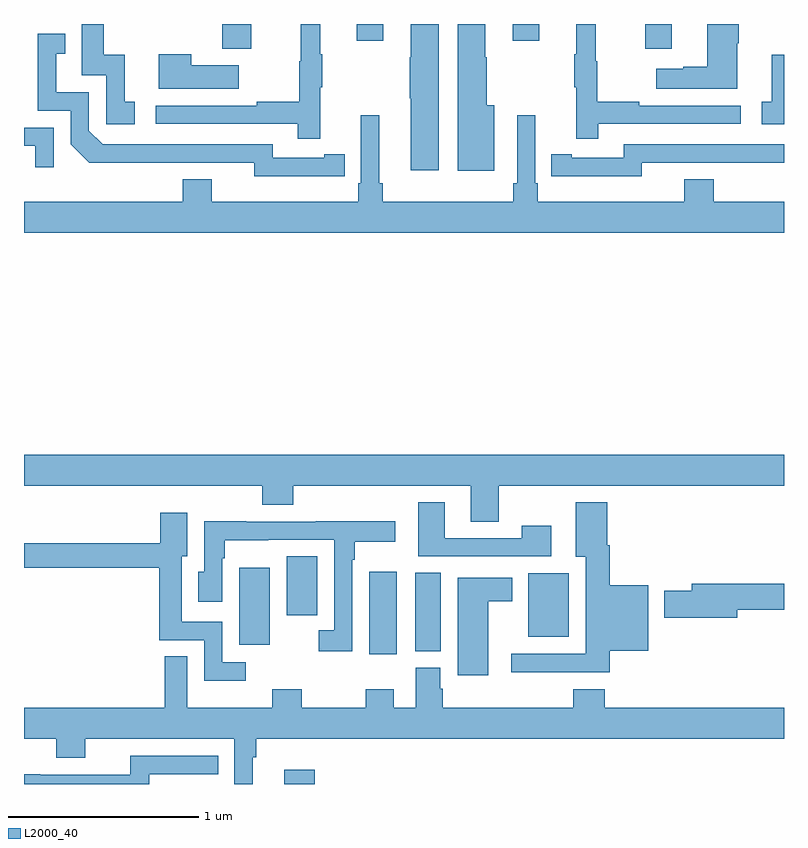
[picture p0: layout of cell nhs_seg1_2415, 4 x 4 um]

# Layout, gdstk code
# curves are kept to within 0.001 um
import gdstk
lib = gdstk.Library(unit=1e-6, precision=1e-09)
def R(c, l, rs):  # rectangles x0, y0, x1, y1
    for r in rs: c.add(gdstk.rectangle(r[:2], r[2:], *l))
def P(c, l, *ps):  # polygons
    for p in ps: c.add(gdstk.Polygon(p, *l))
L2000_40 = (2000, 40)

nhs_seg1_2415 = lib.new_cell('nhs_seg1_2415')
R(nhs_seg1_2415, L2000_40, [(244.37,514.199,244.529,514.273), (244.817,514.883,244.963,515.317), (245.06,514.897,245.194,515.312), (244.133,514.932,244.294,515.338), (245.654,514.973,245.866,515.308), (244.382,515.088,244.543,515.399), (244.043,518.07,244.195,518.199), (246.269,518.07,246.409,518.199), (244.751,518.112,244.891,518.199), (245.573,518.112,245.713,518.199)])
P(nhs_seg1_2415, L2000_40, [(243.583,517.791),(243.53,517.791),(243.53,518.038),(243.419,518.038),(243.419,518.199),(243.303,518.199),(243.303,517.929),(243.432,517.929),(243.432,517.671),(243.583,517.671)],
  [(244.559,517.867),(244.57,517.867),(244.57,518.041),(244.559,518.041),(244.559,518.199),(244.456,518.199),(244.456,518.004),(244.449,518.004),(244.449,517.79),(244.225,517.79),(244.225,517.77),(243.693,517.77),(243.693,517.674),(244.441,517.674),(244.441,517.596),(244.559,517.596)],
  [(246.754,518.099),(246.762,518.099),(246.762,518.199),(246.596,518.199),(246.596,517.973),(246.47,517.973),(246.47,517.963),(246.327,517.963),(246.327,517.859),(246.754,517.859)],
  [(245.476,517.771),(245.436,517.771),(245.436,518.024),(245.428,518.024),(245.428,518.199),(245.282,518.199),(245.282,517.427),(245.476,517.427)],
  [(245.182,518.199),(245.036,518.199),(245.036,518.024),(245.029,518.024),(245.029,517.807),(245.036,517.807),(245.036,517.428),(245.182,517.428)],
  [(246.023,517.674),(246.772,517.674),(246.772,517.77),(246.239,517.77),(246.239,517.79),(246.016,517.79),(246.016,518.004),(246.008,518.004),(246.008,518.199),(245.906,518.199),(245.906,518.041),(245.895,518.041),(245.895,517.867),(245.906,517.867),(245.906,517.596),(246.023,517.596)],
  [(244.58,517.398),(244.688,517.398),(244.688,517.514),(244.58,517.514),(244.58,517.494),(244.308,517.494),(244.308,517.566),(243.414,517.566),(243.342,517.638),(243.342,517.839),(243.169,517.839),(243.169,518.043),(243.218,518.043),(243.218,518.149),(243.072,518.149),(243.072,517.743),(243.246,517.743),(243.246,517.566),(243.344,517.469),(244.212,517.47),(244.212,517.397)],
  [(244.129,517.981),(243.881,517.981),(243.881,518.041),(243.71,518.041),(243.71,517.859),(244.129,517.859)],
  [(247,518.038),(246.935,518.038),(246.935,517.791),(246.882,517.791),(246.882,517.671),(247,517.671)],
  [(247,517.264),(246.629,517.264),(246.629,517.381),(246.476,517.381),(246.476,517.264),(245.705,517.264),(245.705,517.36),(245.691,517.36),(245.691,517.72),(245.595,517.72),(245.595,517.36),(245.575,517.36),(245.575,517.264),(244.889,517.264),(244.889,517.36),(244.87,517.36),(244.87,517.72),(244.773,517.72),(244.773,517.36),(244.76,517.36),(244.76,517.264),(243.988,517.264),(243.988,517.381),(243.836,517.381),(243.836,517.264),(243,517.264),(243,517.1),(247,517.1)],
  [(243.156,517.653),(243,517.653),(243,517.557),(243.059,517.557),(243.059,517.446),(243.156,517.446)],
  [(246.252,517.47),(246.712,517.47),(246.712,517.469),(247,517.469),(247,517.566),(246.156,517.566),(246.156,517.494),(245.884,517.494),(245.884,517.514),(245.776,517.514),(245.776,517.398),(245.884,517.398),(245.884,517.397),(246.252,517.397)],
  [(245.499,515.768),(247,515.768),(247,515.932),(243,515.932),(243,515.768),(244.253,515.768),(244.253,515.669),(244.418,515.669),(244.418,515.768),(245.351,515.768),(245.351,515.578),(245.499,515.578)],
  [(246.083,514.901),(246.286,514.901),(246.286,515.245),(246.083,515.245),(246.083,515.456),(246.07,515.456),(246.07,515.683),(245.903,515.683),(245.903,515.396),(245.957,515.396),(245.957,514.884),(245.565,514.884),(245.565,514.787),(246.083,514.787)],
  [(245.776,515.557),(245.62,515.557),(245.62,515.493),(245.215,515.493),(245.215,515.683),(245.075,515.683),(245.075,515.397),(245.776,515.397)],
  [(244.168,514.839),(244.044,514.839),(244.044,515.052),(243.829,515.052),(243.829,515.397),(243.859,515.397),(243.859,515.626),(243.716,515.626),(243.716,515.467),(243,515.467),(243,515.338),(243.711,515.338),(243.711,514.956),(243.948,514.956),(243.948,514.742),(244.168,514.742)],
  [(244.728,515.378),(244.741,515.378),(244.741,515.474),(244.954,515.474),(244.954,515.582),(244.535,515.582),(244.535,515.58),(244.169,515.58),(244.169,515.582),(243.948,515.582),(243.948,515.316),(243.917,515.316),(243.917,515.157),(244.044,515.157),(244.044,515.387),(244.057,515.387),(244.057,515.483),(244.286,515.483),(244.286,515.484),(244.632,515.484),(244.632,515.007),(244.551,515.007),(244.551,514.899),(244.728,514.899)],
  [(245.443,515.162),(245.569,515.162),(245.569,515.284),(245.282,515.284),(245.282,514.772),(245.443,514.772)],
  [(246.754,515.116),(247,515.116),(247,515.252),(246.515,515.252),(246.515,515.216),(246.371,515.216),(246.371,515.074),(246.754,515.074)],
  [(244.204,514.34),(244.223,514.34),(244.223,514.436),(247,514.436),(247,514.6),(246.056,514.6),(246.056,514.699),(245.891,514.699),(245.891,514.6),(245.204,514.6),(245.204,514.701),(245.191,514.701),(245.191,514.812),(245.063,514.812),(245.063,514.6),(244.945,514.6),(244.945,514.699),(244.798,514.699),(244.798,514.6),(244.461,514.6),(244.461,514.699),(244.306,514.699),(244.306,514.6),(243.859,514.6),(243.859,514.871),(243.741,514.871),(243.741,514.6),(243,514.6),(243,514.436),(243.17,514.436),(243.17,514.337),(243.322,514.337),(243.322,514.436),(244.107,514.436),(244.107,514.199),(244.204,514.199)],
  [(243.658,514.251),(244.022,514.251),(244.022,514.347),(243.559,514.347),(243.559,514.248),(243.086,514.248),(243.086,514.25),(243,514.25),(243,514.199),(243.658,514.199)])

lib.write_gds('nhs_seg1_2415.gds')
